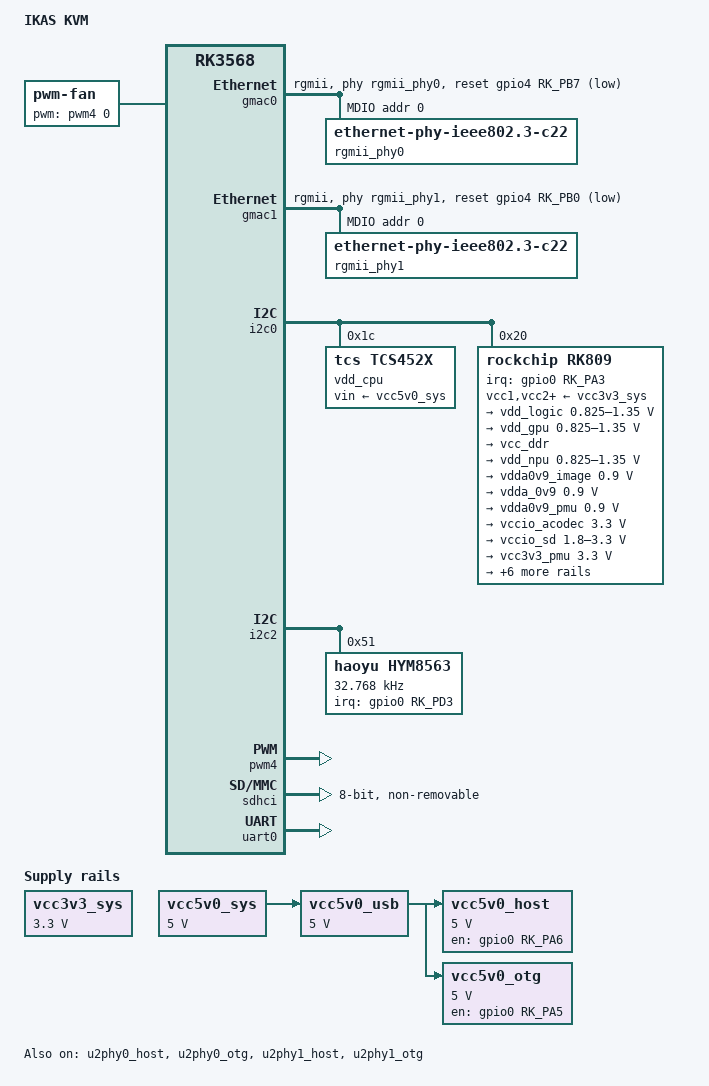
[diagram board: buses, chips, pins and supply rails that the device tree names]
// SPDX-License-Identifier: (GPL-2.0+ OR MIT)
/*
 * Board DTS for IKAS/YDTX RK3568 KVM.
 *
 * This is a hand-extracted mainline-style DTS from the vendor/decompiled
 * running.dts. The original dump is kept as rk3568-ydtx-kvm.dts for reference.
 */

/dts-v1/;

#include <dt-bindings/gpio/gpio.h>
#include <dt-bindings/interrupt-controller/irq.h>
#include <dt-bindings/pinctrl/rockchip.h>
#include <dt-bindings/pwm/pwm.h>
#include "rk3568.dtsi"

/ {
	model = "IKAS KVM";
	compatible = "rockchip,rk3568-ydtx-kvm", "rockchip,rk3568";

	aliases {
		ethernet0 = &gmac0;
		ethernet1 = &gmac1;
		mmc0 = &sdhci;
		mmc1 = &sdmmc0;
		serial0 = &uart0;
	};

	chosen {
		stdout-path = "serial0:1500000n8";
	};

	vcc3v3_sys: vcc3v3-sys {
		compatible = "regulator-fixed";
		regulator-name = "vcc3v3_sys";
		regulator-always-on;
		regulator-boot-on;
		regulator-min-microvolt = <3300000>;
		regulator-max-microvolt = <3300000>;
	};

	vcc5v0_sys: vcc5v0-sys {
		compatible = "regulator-fixed";
		regulator-name = "vcc5v0_sys";
		regulator-always-on;
		regulator-boot-on;
		regulator-min-microvolt = <5000000>;
		regulator-max-microvolt = <5000000>;
	};

	vcc5v0_usb: vcc5v0-usb {
		compatible = "regulator-fixed";
		regulator-name = "vcc5v0_usb";
		regulator-always-on;
		regulator-boot-on;
		regulator-min-microvolt = <5000000>;
		regulator-max-microvolt = <5000000>;
		vin-supply = <&vcc5v0_sys>;
	};

	vcc5v0_host: vcc5v0-host-regulator {
		compatible = "regulator-fixed";
		regulator-name = "vcc5v0_host";
		regulator-min-microvolt = <5000000>;
		regulator-max-microvolt = <5000000>;
		enable-active-high;
		gpio = <&gpio0 RK_PA6 GPIO_ACTIVE_HIGH>;
		vin-supply = <&vcc5v0_usb>;
		pinctrl-names = "default";
		pinctrl-0 = <&vcc5v0_host_en>;
	};

	vcc5v0_otg: vcc5v0-otg-regulator {
		compatible = "regulator-fixed";
		regulator-name = "vcc5v0_otg";
		regulator-min-microvolt = <5000000>;
		regulator-max-microvolt = <5000000>;
		enable-active-high;
		gpio = <&gpio0 RK_PA5 GPIO_ACTIVE_HIGH>;
		vin-supply = <&vcc5v0_usb>;
		pinctrl-names = "default";
		pinctrl-0 = <&vcc5v0_otg_en>;
	};

	fan: pwm-fan {
		compatible = "pwm-fan";
		pwms = <&pwm4 0 10000 0>;
		cooling-min-state = <0>;
		cooling-max-state = <3>;
		#cooling-cells = <2>;
		cooling-levels = <0 102 170 230>;
		status = "okay";
	};
};

&cpu0 {
	cpu-supply = <&vdd_cpu>;
};

&gmac0 {
	phy-mode = "rgmii";
	clock_in_out = "output";
	snps,reset-gpio = <&gpio4 RK_PB7 GPIO_ACTIVE_LOW>;
	snps,reset-active-low;
	snps,reset-delays-us = <0 20000 100000>;
	assigned-clocks = <&cru 0x185>, <&cru 0x182>;
	assigned-clock-parents = <&cru 0x183>, <&cru 0xb6>;
	assigned-clock-rates = <0>, <125000000>;
	pinctrl-names = "default";
	pinctrl-0 = <&gmac0_miim &gmac0_tx_bus2 &gmac0_rx_bus2
		     &gmac0_rgmii_clk &gmac0_rgmii_bus>;
	tx_delay = <0x3c>;
	rx_delay = <0x34>;
	phy-handle = <&rgmii_phy0>;
	status = "okay";

	mdio {
		compatible = "snps,dwmac-mdio";
		#address-cells = <1>;
		#size-cells = <0>;

		rgmii_phy0: phy@0 {
			compatible = "ethernet-phy-ieee802.3-c22";
			reg = <0>;
		};
	};
};

&gmac1 {
	phy-mode = "rgmii";
	clock_in_out = "output";
	snps,reset-gpio = <&gpio4 RK_PB0 GPIO_ACTIVE_LOW>;
	snps,reset-active-low;
	snps,reset-delays-us = <0 20000 100000>;
	assigned-clocks = <&cru 0x189>, <&cru 0x186>;
	assigned-clock-parents = <&cru 0x187>, <&cru 0xc5>;
	assigned-clock-rates = <0>, <125000000>;
	pinctrl-names = "default";
	pinctrl-0 = <&gmac1m1_miim &gmac1m1_tx_bus2 &gmac1m1_rx_bus2
		     &gmac1m1_rgmii_clk &gmac1m1_rgmii_bus>;
	tx_delay = <0x48>;
	rx_delay = <0x2a>;
	phy-handle = <&rgmii_phy1>;
	status = "okay";

	mdio {
		compatible = "snps,dwmac-mdio";
		#address-cells = <1>;
		#size-cells = <0>;

		rgmii_phy1: phy@0 {
			compatible = "ethernet-phy-ieee802.3-c22";
			reg = <0>;
		};
	};
};

&i2c0 {
	status = "okay";

	vdd_cpu: regulator@1c {
		compatible = "tcs,tcs452x";
		reg = <0x1c>;
		vin-supply = <&vcc5v0_sys>;
		regulator-compatible = "fan53555-reg";
		regulator-name = "vdd_cpu";
		regulator-min-microvolt = <712500>;
		regulator-max-microvolt = <1380000>;
		regulator-init-microvolt = <1000000>;
		regulator-ramp-delay = <2300>;
		fcs,suspend-voltage-selector = <1>;
		regulator-boot-on;
		regulator-always-on;

		regulator-state-mem {
			regulator-off-in-suspend;
		};
	};

	rk809: pmic@20 {
		compatible = "rockchip,rk809";
		reg = <0x20>;
		interrupt-parent = <&gpio0>;
		interrupts = <RK_PA3 IRQ_TYPE_LEVEL_LOW>;
		pinctrl-names = "default";
		pinctrl-0 = <&pmic_int>;
		rockchip,system-power-controller;
		wakeup-source;
		#clock-cells = <1>;
		clock-output-names = "rk808-clkout1", "rk808-clkout2";
		vcc1-supply = <&vcc3v3_sys>;
		vcc2-supply = <&vcc3v3_sys>;
		vcc3-supply = <&vcc3v3_sys>;
		vcc4-supply = <&vcc3v3_sys>;
		vcc5-supply = <&vcc3v3_sys>;
		vcc6-supply = <&vcc3v3_sys>;
		vcc7-supply = <&vcc3v3_sys>;
		vcc8-supply = <&vcc3v3_sys>;
		vcc9-supply = <&vcc3v3_sys>;

		pwrkey {
			status = "okay";
		};

		regulators {
			vdd_logic: DCDC_REG1 {
				regulator-always-on;
				regulator-boot-on;
				regulator-min-microvolt = <825000>;
				regulator-max-microvolt = <1350000>;
				regulator-init-microvolt = <900000>;
				regulator-ramp-delay = <6001>;
				regulator-name = "vdd_logic";

				regulator-state-mem {
					regulator-off-in-suspend;
				};
			};

			vdd_gpu: DCDC_REG2 {
				regulator-always-on;
				regulator-boot-on;
				regulator-min-microvolt = <825000>;
				regulator-max-microvolt = <1350000>;
				regulator-init-microvolt = <900000>;
				regulator-ramp-delay = <6001>;
				regulator-name = "vdd_gpu";

				regulator-state-mem {
					regulator-off-in-suspend;
				};
			};

			vcc_ddr: DCDC_REG3 {
				regulator-always-on;
				regulator-boot-on;
				regulator-name = "vcc_ddr";

				regulator-state-mem {
					regulator-on-in-suspend;
				};
			};

			vdd_npu: DCDC_REG4 {
				regulator-always-on;
				regulator-boot-on;
				regulator-min-microvolt = <825000>;
				regulator-max-microvolt = <1350000>;
				regulator-init-microvolt = <900000>;
				regulator-ramp-delay = <6001>;
				regulator-name = "vdd_npu";

				regulator-state-mem {
					regulator-off-in-suspend;
				};
			};

			vdda0v9_image: LDO_REG1 {
				regulator-boot-on;
				regulator-always-on;
				regulator-min-microvolt = <900000>;
				regulator-max-microvolt = <900000>;
				regulator-name = "vdda0v9_image";
			};

			vdda_0v9: LDO_REG2 {
				regulator-boot-on;
				regulator-always-on;
				regulator-min-microvolt = <900000>;
				regulator-max-microvolt = <900000>;
				regulator-name = "vdda_0v9";
			};

			vdda0v9_pmu: LDO_REG3 {
				regulator-boot-on;
				regulator-always-on;
				regulator-min-microvolt = <900000>;
				regulator-max-microvolt = <900000>;
				regulator-name = "vdda0v9_pmu";
			};

			vccio_acodec: LDO_REG4 {
				regulator-boot-on;
				regulator-always-on;
				regulator-min-microvolt = <3300000>;
				regulator-max-microvolt = <3300000>;
				regulator-name = "vccio_acodec";
			};

			vccio_sd: LDO_REG5 {
				regulator-boot-on;
				regulator-always-on;
				regulator-min-microvolt = <1800000>;
				regulator-max-microvolt = <3300000>;
				regulator-name = "vccio_sd";
			};

			vcc3v3_pmu: LDO_REG6 {
				regulator-boot-on;
				regulator-always-on;
				regulator-min-microvolt = <3300000>;
				regulator-max-microvolt = <3300000>;
				regulator-name = "vcc3v3_pmu";
			};

			vcca_1v8: LDO_REG7 {
				regulator-boot-on;
				regulator-always-on;
				regulator-min-microvolt = <1800000>;
				regulator-max-microvolt = <1800000>;
				regulator-name = "vcca_1v8";
			};

			vcca1v8_pmu: LDO_REG8 {
				regulator-boot-on;
				regulator-always-on;
				regulator-min-microvolt = <1800000>;
				regulator-max-microvolt = <1800000>;
				regulator-name = "vcca1v8_pmu";
			};

			vcca1v8_image: LDO_REG9 {
				regulator-boot-on;
				regulator-always-on;
				regulator-min-microvolt = <1800000>;
				regulator-max-microvolt = <1800000>;
				regulator-name = "vcca1v8_image";
			};

			vcc_1v8: DCDC_REG5 {
				regulator-boot-on;
				regulator-always-on;
				regulator-min-microvolt = <1800000>;
				regulator-max-microvolt = <1800000>;
				regulator-name = "vcc_1v8";
			};

			vcc_3v3: SWITCH_REG1 {
				regulator-always-on;
				regulator-boot-on;
				regulator-name = "vcc_3v3";
			};

			vcc3v3_sd: SWITCH_REG2 {
				regulator-always-on;
				regulator-boot-on;
				regulator-name = "vcc3v3_sd";
			};
		};
	};
};

&i2c2 {
	status = "okay";

	hym8563: rtc@51 {
		compatible = "haoyu,hym8563";
		reg = <0x51>;
		#clock-cells = <0>;
		clock-frequency = <32768>;
		clock-output-names = "hym8563";
		pinctrl-names = "default";
		pinctrl-0 = <&rtc_int>;
		interrupt-parent = <&gpio0>;
		interrupts = <RK_PD3 IRQ_TYPE_LEVEL_LOW>;
		wakeup-source;
	};
};

&pinctrl {
	pmic {
		pmic_int: pmic-int {
			rockchip,pins = <0 RK_PA3 RK_FUNC_GPIO &pcfg_pull_up>;
		};
	};

	rtc {
		rtc_int: rtc-int {
			rockchip,pins = <0 RK_PD3 RK_FUNC_GPIO &pcfg_pull_up>;
		};
	};

	usb {
		vcc5v0_host_en: vcc5v0-host-en {
			rockchip,pins = <0 RK_PA6 RK_FUNC_GPIO &pcfg_pull_none>;
		};

		vcc5v0_otg_en: vcc5v0-otg-en {
			rockchip,pins = <0 RK_PA5 RK_FUNC_GPIO &pcfg_pull_none>;
		};
	};
};

&pwm4 {
	status = "okay";
};

&sdhci {
	bus-width = <8>;
	non-removable;
	max-frequency = <200000000>;
	status = "okay";
};

&sdmmc0 {
	bus-width = <4>;
	cap-mmc-highspeed;
	cap-sd-highspeed;
	disable-wp;
	sd-uhs-sdr104;
	vmmc-supply = <&vcc3v3_sd>;
	vqmmc-supply = <&vccio_sd>;
	status = "disabled";
};

&uart0 {
	status = "okay";
};

&u2phy0_host {
	phy-supply = <&vcc5v0_host>;
	status = "okay";
};

&u2phy0_otg {
	phy-supply = <&vcc5v0_otg>;
	status = "okay";
};

&u2phy1_host {
	phy-supply = <&vcc5v0_host>;
	status = "okay";
};

&u2phy1_otg {
	phy-supply = <&vcc5v0_otg>;
	status = "okay";
};
